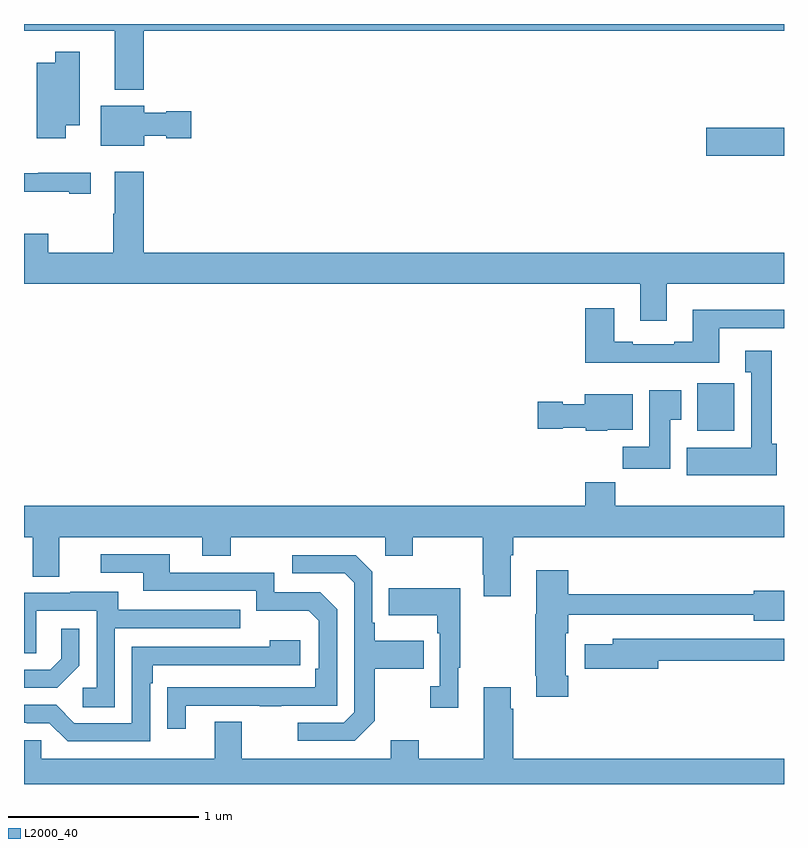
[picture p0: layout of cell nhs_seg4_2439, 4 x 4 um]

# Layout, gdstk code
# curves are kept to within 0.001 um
import gdstk
lib = gdstk.Library(unit=1e-6, precision=1e-09)
def R(c, l, rs):  # rectangles x0, y0, x1, y1
    for r in rs: c.add(gdstk.rectangle(r[:2], r[2:], *l))
def P(c, l, *ps):  # polygons
    for p in ps: c.add(gdstk.Polygon(p, *l))
L2000_40 = (2000, 40)

nhs_seg4_2439 = lib.new_cell('nhs_seg4_2439')
R(nhs_seg4_2439, L2000_40, [(242.543,750.758,242.739,751.009), (242.592,752.207,243,752.354)])
P(nhs_seg4_2439, L2000_40, [(239.63,752.864),(243,752.864),(243,752.9),(239,752.9),(239,752.864),(239.477,752.864),(239.477,752.555),(239.63,752.555)],
  [(239.221,752.366),(239.293,752.366),(239.293,752.755),(239.164,752.755),(239.164,752.695),(239.066,752.695),(239.066,752.298),(239.221,752.298)],
  [(239.632,752.312),(239.748,752.312),(239.748,752.3),(239.881,752.3),(239.881,752.442),(239.748,752.442),(239.748,752.434),(239.632,752.434),(239.632,752.47),(239.405,752.47),(239.405,752.258),(239.632,752.258)],
  [(242.383,751.532),(243,751.532),(243,751.696),(239.63,751.696),(239.63,752.122),(239.477,752.122),(239.477,751.901),(239.47,751.901),(239.47,751.696),(239.127,751.696),(239.127,751.795),(239,751.795),(239,751.532),(242.243,751.532),(242.243,751.338),(242.383,751.338)],
  [(239.35,752.117),(239.074,752.117),(239.074,752.115),(239,752.115),(239,752.017),(239.237,752.017),(239.237,752.007),(239.35,752.007)],
  [(242.659,751.299),(243,751.299),(243,751.396),(242.519,751.396),(242.519,751.228),(242.423,751.228),(242.423,751.215),(242.203,751.215),(242.203,751.228),(242.107,751.228),(242.107,751.405),(241.955,751.405),(241.955,751.118),(242.659,751.118)],
  [(242.962,750.69),(242.935,750.69),(242.935,751.18),(242.795,751.18),(242.795,751.067),(242.828,751.067),(242.828,750.67),(242.489,750.67),(242.489,750.524),(242.962,750.524)],
  [(242.401,750.817),(242.458,750.817),(242.458,750.973),(242.291,750.973),(242.291,750.676),(242.152,750.676),(242.152,750.558),(242.401,750.558)],
  [(242.07,750.764),(242.203,750.764),(242.203,750.952),(241.952,750.952),(241.952,750.898),(241.836,750.898),(241.836,750.911),(241.704,750.911),(241.704,750.769),(241.836,750.769),(241.836,750.776),(241.956,750.776),(241.956,750.758),(242.07,750.758)],
  [(241.561,750.104),(241.574,750.104),(241.574,750.2),(243,750.2),(243,750.364),(242.111,750.364),(242.111,750.488),(241.955,750.488),(241.955,750.364),(239,750.364),(239,750.2),(239.045,750.2),(239.045,749.992),(239.185,749.992),(239.185,750.2),(239.939,750.2),(239.939,750.101),(240.087,750.101),(240.087,750.2),(240.9,750.2),(240.9,750.101),(241.047,750.101),(241.047,750.2),(241.414,750.2),(241.414,750.001),(241.421,750.001),(241.421,749.889),(241.561,749.889)],
  [(239.851,749.313),(240.241,749.313),(240.241,749.308),(240.353,749.308),(240.353,749.313),(240.648,749.313),(240.648,749.82),(240.558,749.91),(240.318,749.91),(240.318,750.012),(239.767,750.012),(239.767,750.108),(239.403,750.108),(239.403,750.012),(239.627,750.012),(239.627,749.916),(240.222,749.916),(240.222,749.813),(240.499,749.813),(240.552,749.76),(240.552,749.506),(240.532,749.506),(240.532,749.409),(239.755,749.408),(239.755,749.19),(239.851,749.19)],
  [(240.847,749.233),(240.847,749.506),(241.103,749.506),(241.103,749.653),(240.847,749.653),(240.847,749.749),(240.834,749.749),(240.834,750.018),(240.747,750.105),(240.411,750.105),(240.411,750.009),(240.687,750.009),(240.738,749.958),(240.738,749.277),(240.684,749.223),(240.441,749.223),(240.441,749.127),(240.741,749.127)],
  [(241.865,749.47),(241.852,749.47),(241.852,749.693),(241.865,749.693),(241.865,749.79),(242.84,749.79),(242.84,749.759),(243,749.759),(243,749.917),(242.84,749.917),(242.84,749.899),(241.865,749.899),(241.865,750.025),(241.697,750.025),(241.697,749.793),(241.69,749.793),(241.69,749.47),(241.697,749.47),(241.697,749.358),(241.865,749.358)],
  [(241.285,749.513),(241.297,749.513),(241.297,749.929),(240.919,749.929),(240.919,749.789),(241.176,749.789),(241.176,749.693),(241.188,749.693),(241.188,749.414),(241.137,749.414),(241.137,749.301),(241.285,749.301)],
  [(239.478,749.721),(240.137,749.721),(240.137,749.817),(239.497,749.817),(239.497,749.911),(239.243,749.911),(239.243,749.907),(239,749.907),(239,749.587),(239.064,749.587),(239.064,749.811),(239.382,749.811),(239.382,749.406),(239.31,749.406),(239.31,749.305),(239.478,749.305)],
  [(239.292,749.522),(239.292,749.716),(239.195,749.716),(239.195,749.559),(239.138,749.502),(239,749.502),(239,749.406),(239.176,749.406)],
  [(242.338,749.548),(243,749.548),(243,749.664),(242.099,749.664),(242.099,749.635),(241.95,749.635),(241.95,749.506),(242.338,749.506)],
  [(239.664,749.429),(239.677,749.429),(239.677,749.526),(240.454,749.526),(240.454,749.656),(240.293,749.656),(240.293,749.622),(239.568,749.622),(239.568,749.22),(239.265,749.22),(239.169,749.316),(239,749.316),(239,749.223),(239.015,749.223),(239.015,749.22),(239.133,749.22),(239.229,749.124),(239.664,749.124)],
  [(243,749.032),(241.574,749.032),(241.574,749.297),(241.561,749.297),(241.561,749.41),(241.421,749.41),(241.421,749.032),(241.077,749.032),(241.077,749.131),(240.929,749.131),(240.929,749.032),(240.145,749.032),(240.145,749.227),(240.005,749.227),(240.005,749.032),(239.091,749.032),(239.091,749.13),(239,749.13),(239,748.9),(243,748.9)])

lib.write_gds('nhs_seg4_2439.gds')
